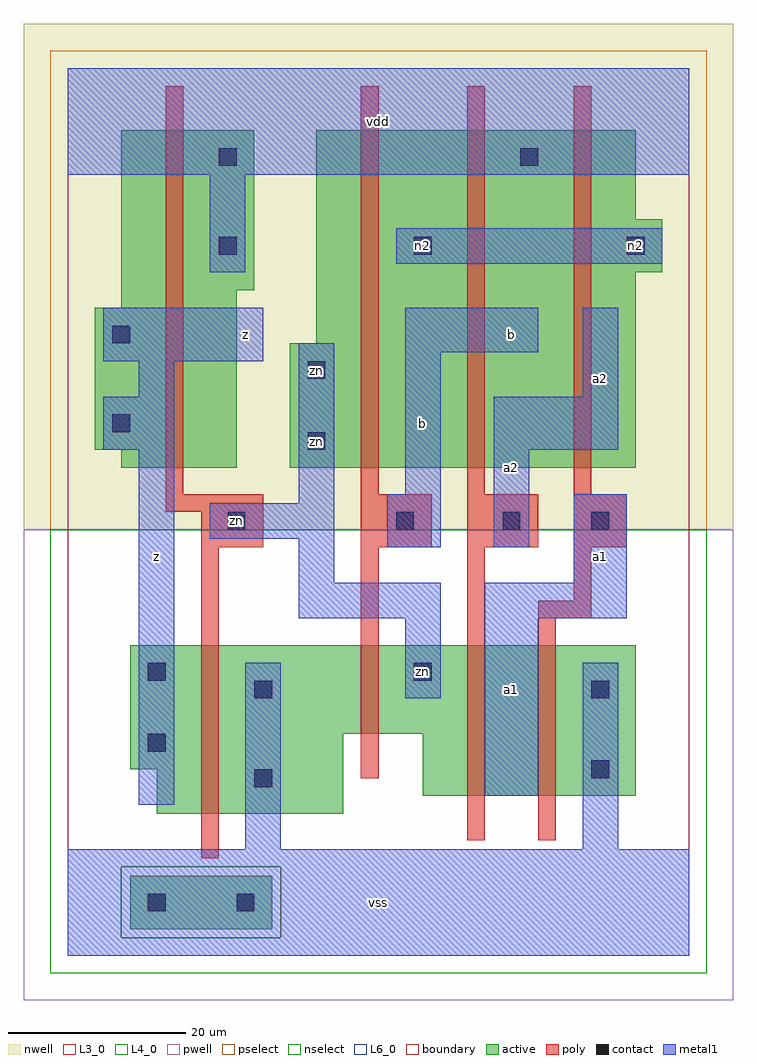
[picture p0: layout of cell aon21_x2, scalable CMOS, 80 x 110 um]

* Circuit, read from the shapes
.subckt aon21_x2 a1 a2 b n2 vdd vss z zn
M1 vss zn z vss nfet w=19u l=2u
M2 zn b vss vss nfet w=10u l=2u
M3 n1 a2 zn vss nfet w=17u l=2u
M4 vss a1 n1 vss nfet w=17u l=2u
M5 vdd zn z n3 pfet w=38u l=2u
M6 n2 b zn n3 pfet w=38u l=2u
M7 vdd a2 n2 n3 pfet w=38u l=2u
M8 n2 a1 vdd n3 pfet w=38u l=2u
.ends

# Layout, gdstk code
import gdstk
lib = gdstk.Library(unit=1e-6, precision=1e-09)
def R(c, l, rs):  # rectangles x0, y0, x1, y1
    for r in rs: c.add(gdstk.rectangle(r[:2], r[2:], *l))
def A(c, l, x, y, w, h, nx, ny, dx, dy):  # array of equal rectangles
    R(c, l, [(x+i*dx, y+j*dy, x+i*dx+w, y+j*dy+h) for i in range(nx) for j in range(ny)])
L3_0 = (3, 0)
L4_0 = (4, 0)
L6_0 = (6, 0)
contact = (25, 0)
pwell = (41, 0)
nwell = (42, 0)
active = (43, 0)
pselect = (44, 0)
nselect = (45, 0)
poly = (46, 0)
metal1 = (49, 0)
boundary = (63, 0)

aon21_x2 = lib.new_cell('aon21_x2')
R(aon21_x2, L3_0, [(10,16,31,21), (40,18,64,25), (7,21,31,25), (7,25,64,35)])
R(aon21_x2, L4_0, [(6,55,19,57), (25,55,64,69), (3,57,19,73), (28,69,64,77), (6,73,19,75), (6,75,21,93), (28,77,67,83), (28,83,64,93)])
R(aon21_x2, L6_0, [(7,3,23,9)])
R(aon21_x2, contact, [(9,5,11,7), (19,5,21,7), (21,19,23,21), (59,20,61,22), (9,23,11,25), (21,29,23,31), (59,29,61,31), (9,31,11,33), (39,31,41,33), (18,48,20,50), (37,48,39,50), (49,48,51,50), (59,48,61,50), (27,57,29,59), (5,59,7,61), (27,65,29,67), (5,69,7,71), (17,79,19,81), (39,79,41,81), (63,79,65,81), (17,89,19,91), (51,89,53,91)])
R(aon21_x2, pwell, [(-5,-5,75,48)])
R(aon21_x2, nwell, [(-5,48,75,105)])
R(aon21_x2, active, [(7,3,23,9), (10,16,31,21), (40,18,64,25), (7,21,31,25), (7,25,64,35), (6,55,19,57), (25,55,64,69), (3,57,19,73), (28,69,64,77), (6,73,19,75), (6,75,21,93), (28,77,67,83), (28,83,64,93)])
R(aon21_x2, pselect, [(6,2,24,10), (-2,48,72,102)])
R(aon21_x2, nselect, [(-2,-2,72,2), (-2,2,6,10), (24,2,72,10), (-2,10,72,48)])
A(aon21_x2, poly, 33, 52, 2, 46, 3, 1, 12, 0)
R(aon21_x2, poly, [(15,11,17,46), (45,13,47,46), (53,13,55,38), (33,20,35,46), (53,38,59,40), (57,40,59,46), (15,46,22,50), (33,46,41,52), (45,46,53,52), (57,46,63,52), (11,50,22,52), (11,52,13,98)])
R(aon21_x2, metal1, [(0,0,70,12), (20,12,24,33), (58,12,62,33), (8,17,12,57), (47,18,53,38), (38,29,42,38), (26,38,42,42), (47,38,63,42), (26,42,30,47), (57,42,63,52), (36,46,42,52), (48,46,52,57), (16,47,30,51), (26,51,30,69), (38,52,42,68), (4,57,12,63), (48,57,62,63), (8,63,12,67), (58,63,62,73), (4,67,22,73), (38,68,53,73), (16,77,20,88), (37,78,67,82), (0,88,70,100)])
R(aon21_x2, boundary, [(0,0,70,100)])
aon21_x2.add(gdstk.Label('zn', (19,49), layer=49, texttype=0))
aon21_x2.add(gdstk.Label('zn', (28,58), layer=49, texttype=0))
aon21_x2.add(gdstk.Label('zn', (28,66), layer=49, texttype=0))
aon21_x2.add(gdstk.Label('zn', (40,32), layer=49, texttype=0))
aon21_x2.add(gdstk.Label('n2', (40,80), layer=49, texttype=0))
aon21_x2.add(gdstk.Label('n2', (64,80), layer=49, texttype=0))
aon21_x2.add(gdstk.Label('z', (10,45), layer=49, texttype=0))
aon21_x2.add(gdstk.Label('z', (20,70), layer=49, texttype=0))
aon21_x2.add(gdstk.Label('vss', (35,6), layer=49, texttype=0))
aon21_x2.add(gdstk.Label('a1', (50,30), layer=49, texttype=0))
aon21_x2.add(gdstk.Label('b', (50,70), layer=49, texttype=0))
aon21_x2.add(gdstk.Label('a2', (50,55), layer=49, texttype=0))
aon21_x2.add(gdstk.Label('b', (40,60), layer=49, texttype=0))
aon21_x2.add(gdstk.Label('vdd', (35,94), layer=49, texttype=0))
aon21_x2.add(gdstk.Label('a1', (60,45), layer=49, texttype=0))
aon21_x2.add(gdstk.Label('a2', (60,65), layer=49, texttype=0))

lib.write_gds('aon21_x2.gds')
